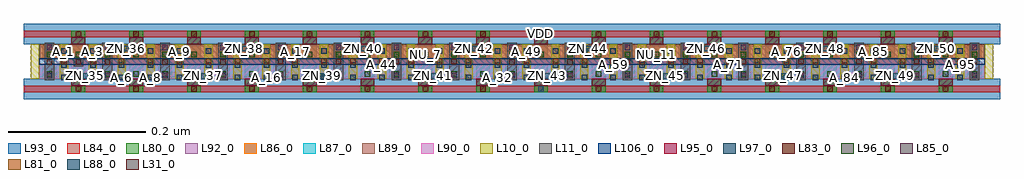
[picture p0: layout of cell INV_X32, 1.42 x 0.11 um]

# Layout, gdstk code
import gdstk
lib = gdstk.Library(unit=1e-6, precision=1e-09)
def R(c, l, rs):  # rectangles x0, y0, x1, y1
    for r in rs: c.add(gdstk.rectangle(r[:2], r[2:], *l))
def A(c, l, x, y, w, h, nx, ny, dx, dy):  # array of equal rectangles
    R(c, l, [(x+i*dx, y+j*dy, x+i*dx+w, y+j*dy+h) for i in range(nx) for j in range(ny)])
L10_0 = (10, 0)
L11_0 = (11, 0)
L31_0 = (31, 0)
L80_0 = (80, 0)
L81_0 = (81, 0)
L83_0 = (83, 0)
L84_0 = (84, 0)
L85_0 = (85, 0)
L86_0 = (86, 0)
L87_0 = (87, 0)
L88_0 = (88, 0)
L89_0 = (89, 0)
L90_0 = (90, 0)
L92_0 = (92, 0)
L93_0 = (93, 0)
L95_0 = (95, 0)
L96_0 = (96, 0)
L97_0 = (97, 0)
L106_0 = (106, 0)

inv_x32 = lib.new_cell('INV_X32')
A(inv_x32, L10_0, 0.235, 0.03, 0.012, 0.05, 17, 1, 0.042, 0)
A(inv_x32, L10_0, 0.949, 0.03, 0.012, 0.05, 17, 1, 0.042, 0)
R(inv_x32, L10_0, [(0.907,0.03,0.919,0.08), (0.949,0.03,0.961,0.08)])
A(inv_x32, L11_0, 0.255, 0.028, 0.014, 0.034, 9, 2, 0.084, 0.02)
A(inv_x32, L11_0, 0.927, 0.028, 0.014, 0.034, 9, 2, 0.084, 0.02)
R(inv_x32, L11_0, [(0.297,0.048,0.311,0.062)])
A(inv_x32, L31_0, 0.258, 0.05, 0.008, 0.008, 3, 1, 0.042, 0)
A(inv_x32, L31_0, 0.93, 0.05, 0.008, 0.008, 3, 1, 0.084, 0)
A(inv_x32, L31_0, 0.594, 0.051, 0.008, 0.008, 4, 1, 0.084, 0)
A(inv_x32, L31_0, 1.182, 0.051, 0.008, 0.008, 6, 1, 0.084, 0)
R(inv_x32, L31_0, [(0.426,0.05,0.434,0.058), (0.51,0.05,0.518,0.058)])
A(inv_x32, L80_0, 0.294, 0.01, 0.02, 0.021, 16, 1, 0.084, 0)
A(inv_x32, L80_0, 0.252, 0.03, 0.02, 0.02, 17, 1, 0.042, 0)
A(inv_x32, L80_0, 0.924, 0.03, 0.02, 0.02, 17, 1, 0.042, 0)
A(inv_x32, L80_0, 0.294, 0.071, 0.02, 0.029, 16, 1, 0.084, 0)
R(inv_x32, L80_0, [(0.252,0.06,0.272,0.08), (0.252,0.06,0.272,0.08), (0.294,0.06,0.314,0.08), (0.294,0.06,0.314,0.08), (0.336,0.06,0.356,0.08), (0.336,0.06,0.356,0.08), (0.378,0.06,0.398,0.08), (0.378,0.06,0.398,0.08), (0.42,0.06,0.44,0.08), (0.42,0.06,0.44,0.08), (0.462,0.06,0.482,0.08), (0.462,0.06,0.482,0.08), (0.504,0.06,0.524,0.08), (0.504,0.06,0.524,0.08), (0.546,0.06,0.566,0.08), (0.546,0.06,0.566,0.08), (0.588,0.06,0.608,0.08), (0.588,0.06,0.608,0.08), (0.63,0.06,0.65,0.08), (0.63,0.06,0.65,0.08), (0.672,0.06,0.692,0.08), (0.672,0.06,0.692,0.08), (0.714,0.06,0.734,0.08), (0.714,0.06,0.734,0.08), (0.756,0.06,0.776,0.08), (0.756,0.06,0.776,0.08), (0.798,0.06,0.818,0.08), (0.798,0.06,0.818,0.08), (0.84,0.06,0.86,0.08), (0.84,0.06,0.86,0.08), (0.882,0.06,0.902,0.08), (0.882,0.06,0.902,0.08), (0.924,0.06,0.944,0.08), (0.924,0.06,0.944,0.08), (0.924,0.06,0.944,0.08), (0.924,0.06,0.944,0.08), (0.966,0.06,0.986,0.08), (0.966,0.06,0.986,0.08), (1.008,0.06,1.028,0.08), (1.008,0.06,1.028,0.08), (1.05,0.06,1.07,0.08), (1.05,0.06,1.07,0.08), (1.092,0.06,1.112,0.08), (1.092,0.06,1.112,0.08), (1.134,0.06,1.154,0.08), (1.134,0.06,1.154,0.08), (1.176,0.06,1.196,0.08), (1.176,0.06,1.196,0.08), (1.218,0.06,1.238,0.08), (1.218,0.06,1.238,0.08), (1.26,0.06,1.28,0.08), (1.26,0.06,1.28,0.08), (1.302,0.06,1.322,0.08), (1.302,0.06,1.322,0.08), (1.344,0.06,1.364,0.08), (1.344,0.06,1.364,0.08), (1.386,0.06,1.406,0.08), (1.386,0.06,1.406,0.08), (1.428,0.06,1.448,0.08), (1.428,0.06,1.448,0.08), (1.47,0.06,1.49,0.08), (1.47,0.06,1.49,0.08), (1.512,0.06,1.532,0.08), (1.512,0.06,1.532,0.08), (1.554,0.06,1.574,0.08), (1.554,0.06,1.574,0.08), (1.596,0.06,1.616,0.08), (1.596,0.06,1.616,0.08)])
A(inv_x32, L81_0, 0.279, 0.051, 0.008, 0.008, 32, 1, 0.042, 0)
A(inv_x32, L83_0, 0.3, 0.011, 0.008, 0.008, 16, 2, 0.084, 0.08)
A(inv_x32, L83_0, 0.258, 0.031, 0.008, 0.008, 9, 2, 0.084, 0.04)
A(inv_x32, L83_0, 0.93, 0.031, 0.008, 0.008, 9, 2, 0.084, 0.04)
A(inv_x32, L84_0, 0.257, 0.03, 0.031, 0.01, 4, 1, 0.021, 0)
A(inv_x32, L84_0, 0.425, 0.03, 0.031, 0.01, 4, 1, 0.021, 0)
A(inv_x32, L84_0, 0.593, 0.03, 0.031, 0.01, 4, 1, 0.021, 0)
A(inv_x32, L84_0, 0.761, 0.03, 0.031, 0.01, 4, 1, 0.021, 0)
A(inv_x32, L84_0, 0.929, 0.03, 0.031, 0.01, 4, 1, 0.021, 0)
A(inv_x32, L84_0, 1.097, 0.03, 0.031, 0.01, 4, 1, 0.021, 0)
A(inv_x32, L84_0, 1.265, 0.03, 0.031, 0.01, 4, 1, 0.021, 0)
A(inv_x32, L84_0, 1.433, 0.03, 0.031, 0.01, 4, 1, 0.021, 0)
A(inv_x32, L84_0, 0.278, 0.05, 0.031, 0.01, 30, 1, 0.021, 0)
A(inv_x32, L84_0, 0.971, 0.05, 0.031, 0.01, 29, 1, 0.021, 0)
A(inv_x32, L84_0, 0.341, 0.07, 0.031, 0.01, 4, 1, 0.021, 0)
A(inv_x32, L84_0, 0.509, 0.07, 0.031, 0.01, 4, 1, 0.021, 0)
A(inv_x32, L84_0, 0.677, 0.07, 0.031, 0.01, 4, 1, 0.021, 0)
A(inv_x32, L84_0, 0.845, 0.07, 0.031, 0.01, 4, 1, 0.021, 0)
A(inv_x32, L84_0, 1.013, 0.07, 0.031, 0.01, 4, 1, 0.021, 0)
A(inv_x32, L84_0, 1.181, 0.07, 0.031, 0.01, 4, 1, 0.021, 0)
A(inv_x32, L84_0, 1.349, 0.07, 0.031, 0.01, 4, 1, 0.021, 0)
A(inv_x32, L84_0, 1.517, 0.07, 0.031, 0.01, 4, 1, 0.021, 0)
R(inv_x32, L84_0, [(0.225,0.01,0.971,0.02), (0.897,0.01,1.643,0.02), (0.929,0.03,0.939,0.04), (1.601,0.03,1.611,0.04), (0.916,0.05,0.981,0.06), (0.257,0.07,0.267,0.08), (0.929,0.07,0.939,0.08), (0.225,0.09,0.971,0.1), (0.897,0.09,1.643,0.1)])
A(inv_x32, L85_0, 0.258, 0.031, 0.008, 0.008, 17, 2, 0.084, 0.04)
R(inv_x32, L85_0, [(0.3,0.051,0.308,0.059)])
R(inv_x32, L86_0, [(0.247,0.058,0.949,0.08), (0.919,0.058,1.621,0.08)])
R(inv_x32, L87_0, [(0.247,0.03,0.949,0.052), (0.919,0.03,1.621,0.052)])
A(inv_x32, L88_0, 0.31, 0.03, 0.008, 0.008, 3, 1, 0.172, 0)
A(inv_x32, L88_0, 0.981, 0.03, 0.008, 0.008, 3, 1, 0.172, 0)
A(inv_x32, L88_0, 0.37, 0.07, 0.008, 0.008, 3, 1, 0.172, 0)
A(inv_x32, L88_0, 1.041, 0.07, 0.008, 0.008, 3, 1, 0.172, 0)
R(inv_x32, L88_0, [(0.972,0.011,0.98,0.019), (0.816,0.03,0.824,0.038), (1.487,0.03,1.495,0.038), (0.876,0.07,0.884,0.078), (1.547,0.07,1.555,0.078), (0.972,0.091,0.98,0.099)])
R(inv_x32, L89_0, [(0.247,0.058,0.949,0.08), (0.919,0.058,1.621,0.08)])
R(inv_x32, L90_0, [(0.247,0.03,0.949,0.052), (0.919,0.03,1.621,0.052)])
R(inv_x32, L92_0, [(0.248,0.032,0.948,0.05), (0.92,0.032,1.62,0.05), (0.248,0.06,0.948,0.078), (0.92,0.06,1.62,0.078)])
R(inv_x32, L93_0, [(0.225,0,0.971,0.03), (0.897,0,1.643,0.03), (0.225,0.08,0.971,0.11), (0.897,0.08,1.643,0.11)])
A(inv_x32, L95_0, 0.294, 0.02, 0.02, 0.01, 16, 2, 0.084, 0.06)
A(inv_x32, L96_0, 0.258, 0.033, 0.008, 0.008, 33, 2, 0.042, 0.028)
A(inv_x32, L97_0, 0.279, 0.028, 0.008, 0.008, 32, 2, 0.042, 0.018)
A(inv_x32, L97_0, 0.279, 0.066, 0.008, 0.008, 32, 1, 0.042, 0)
R(inv_x32, L106_0, [(0.247,0.05,0.949,0.06), (0.919,0.05,1.621,0.06)])
inv_x32.add(gdstk.Label('ZN_50', (1.551,0.074), layer=88, texttype=0))
inv_x32.add(gdstk.Label('ZN_49', (1.491,0.034), layer=88, texttype=0))
inv_x32.add(gdstk.Label('ZN_48', (1.389,0.074), layer=88, texttype=0))
inv_x32.add(gdstk.Label('ZN_47', (1.329,0.034), layer=88, texttype=0))
inv_x32.add(gdstk.Label('ZN_45', (1.157,0.034), layer=88, texttype=0))
inv_x32.add(gdstk.Label('ZN_46', (1.217,0.074), layer=88, texttype=0))
inv_x32.add(gdstk.Label('ZN_44', (1.045,0.074), layer=88, texttype=0))
inv_x32.add(gdstk.Label('ZN_43', (0.985,0.034), layer=88, texttype=0))
inv_x32.add(gdstk.Label('ZN_42', (0.88,0.074), layer=88, texttype=0))
inv_x32.add(gdstk.Label('ZN_41', (0.82,0.034), layer=88, texttype=0))
inv_x32.add(gdstk.Label('ZN_40', (0.718,0.074), layer=88, texttype=0))
inv_x32.add(gdstk.Label('ZN_39', (0.658,0.034), layer=88, texttype=0))
inv_x32.add(gdstk.Label('ZN_37', (0.486,0.034), layer=88, texttype=0))
inv_x32.add(gdstk.Label('ZN_38', (0.546,0.074), layer=88, texttype=0))
inv_x32.add(gdstk.Label('ZN_36', (0.374,0.074), layer=88, texttype=0))
inv_x32.add(gdstk.Label('ZN_35', (0.314,0.034), layer=88, texttype=0))
inv_x32.add(gdstk.Label('VSS', (0.976,0.015), layer=88, texttype=0))
inv_x32.add(gdstk.Label('VDD', (0.976,0.095), layer=88, texttype=0))
inv_x32.add(gdstk.Label('A_71', (1.249,0.05), layer=97, texttype=0))
inv_x32.add(gdstk.Label('A_72', (1.249,0.032), layer=97, texttype=0))
inv_x32.add(gdstk.Label('A_67', (1.207,0.07), layer=97, texttype=0))
inv_x32.add(gdstk.Label('A_51', (0.955,0.032), layer=97, texttype=0))
inv_x32.add(gdstk.Label('A_50', (0.955,0.05), layer=97, texttype=0))
inv_x32.add(gdstk.Label('A_49', (0.955,0.07), layer=97, texttype=0))
inv_x32.add(gdstk.Label('A_54', (0.997,0.032), layer=97, texttype=0))
inv_x32.add(gdstk.Label('A_53', (0.997,0.05), layer=97, texttype=0))
inv_x32.add(gdstk.Label('A_52', (0.997,0.07), layer=97, texttype=0))
inv_x32.add(gdstk.Label('A_58', (1.081,0.07), layer=97, texttype=0))
inv_x32.add(gdstk.Label('A_59', (1.081,0.05), layer=97, texttype=0))
inv_x32.add(gdstk.Label('A_60', (1.081,0.032), layer=97, texttype=0))
inv_x32.add(gdstk.Label('A_55', (1.039,0.07), layer=97, texttype=0))
inv_x32.add(gdstk.Label('A_56', (1.039,0.05), layer=97, texttype=0))
inv_x32.add(gdstk.Label('A_57', (1.039,0.032), layer=97, texttype=0))
inv_x32.add(gdstk.Label('A_69', (1.207,0.032), layer=97, texttype=0))
inv_x32.add(gdstk.Label('A_68', (1.207,0.05), layer=97, texttype=0))
inv_x32.add(gdstk.Label('A_18', (0.619,0.032), layer=97, texttype=0))
inv_x32.add(gdstk.Label('A_41', (0.619,0.05), layer=97, texttype=0))
inv_x32.add(gdstk.Label('A_17', (0.619,0.07), layer=97, texttype=0))
inv_x32.add(gdstk.Label('A_20', (0.661,0.032), layer=97, texttype=0))
inv_x32.add(gdstk.Label('A_42', (0.661,0.05), layer=97, texttype=0))
inv_x32.add(gdstk.Label('A_19', (0.661,0.07), layer=97, texttype=0))
inv_x32.add(gdstk.Label('A_23', (0.745,0.07), layer=97, texttype=0))
inv_x32.add(gdstk.Label('A_44', (0.745,0.05), layer=97, texttype=0))
inv_x32.add(gdstk.Label('A_24', (0.745,0.032), layer=97, texttype=0))
inv_x32.add(gdstk.Label('A_21', (0.703,0.07), layer=97, texttype=0))
inv_x32.add(gdstk.Label('A_43', (0.703,0.05), layer=97, texttype=0))
inv_x32.add(gdstk.Label('A_22', (0.703,0.032), layer=97, texttype=0))
inv_x32.add(gdstk.Label('A_30', (0.871,0.032), layer=97, texttype=0))
inv_x32.add(gdstk.Label('A_47', (0.871,0.05), layer=97, texttype=0))
inv_x32.add(gdstk.Label('A_29', (0.871,0.07), layer=97, texttype=0))
inv_x32.add(gdstk.Label('A_32', (0.913,0.032), layer=97, texttype=0))
inv_x32.add(gdstk.Label('A_48', (0.913,0.05), layer=97, texttype=0))
inv_x32.add(gdstk.Label('A_31', (0.913,0.07), layer=97, texttype=0))
inv_x32.add(gdstk.Label('A_27', (0.829,0.07), layer=97, texttype=0))
inv_x32.add(gdstk.Label('A_46', (0.829,0.05), layer=97, texttype=0))
inv_x32.add(gdstk.Label('A_28', (0.829,0.032), layer=97, texttype=0))
inv_x32.add(gdstk.Label('A_25', (0.787,0.07), layer=97, texttype=0))
inv_x32.add(gdstk.Label('A_45', (0.787,0.05), layer=97, texttype=0))
inv_x32.add(gdstk.Label('A_26', (0.787,0.032), layer=97, texttype=0))
inv_x32.add(gdstk.Label('A_7', (0.409,0.07), layer=97, texttype=0))
inv_x32.add(gdstk.Label('A_3', (0.325,0.07), layer=97, texttype=0))
inv_x32.add(gdstk.Label('A_34', (0.325,0.05), layer=97, texttype=0))
inv_x32.add(gdstk.Label('A_4', (0.325,0.032), layer=97, texttype=0))
inv_x32.add(gdstk.Label('A_87', (1.459,0.032), layer=97, texttype=0))
inv_x32.add(gdstk.Label('A_86', (1.459,0.05), layer=97, texttype=0))
inv_x32.add(gdstk.Label('A_85', (1.459,0.07), layer=97, texttype=0))
inv_x32.add(gdstk.Label('A_90', (1.501,0.032), layer=97, texttype=0))
inv_x32.add(gdstk.Label('A_89', (1.501,0.05), layer=97, texttype=0))
inv_x32.add(gdstk.Label('A_88', (1.501,0.07), layer=97, texttype=0))
inv_x32.add(gdstk.Label('A_94', (1.585,0.07), layer=97, texttype=0))
inv_x32.add(gdstk.Label('A_95', (1.585,0.05), layer=97, texttype=0))
inv_x32.add(gdstk.Label('A_96', (1.585,0.032), layer=97, texttype=0))
inv_x32.add(gdstk.Label('A_91', (1.543,0.07), layer=97, texttype=0))
inv_x32.add(gdstk.Label('A_92', (1.543,0.05), layer=97, texttype=0))
inv_x32.add(gdstk.Label('A_93', (1.543,0.032), layer=97, texttype=0))
inv_x32.add(gdstk.Label('A_81', (1.375,0.032), layer=97, texttype=0))
inv_x32.add(gdstk.Label('A_80', (1.375,0.05), layer=97, texttype=0))
inv_x32.add(gdstk.Label('A_79', (1.375,0.07), layer=97, texttype=0))
inv_x32.add(gdstk.Label('A_84', (1.417,0.032), layer=97, texttype=0))
inv_x32.add(gdstk.Label('A_83', (1.417,0.05), layer=97, texttype=0))
inv_x32.add(gdstk.Label('A_82', (1.417,0.07), layer=97, texttype=0))
inv_x32.add(gdstk.Label('A_76', (1.333,0.07), layer=97, texttype=0))
inv_x32.add(gdstk.Label('A_77', (1.333,0.05), layer=97, texttype=0))
inv_x32.add(gdstk.Label('A_78', (1.333,0.032), layer=97, texttype=0))
inv_x32.add(gdstk.Label('A_73', (1.291,0.07), layer=97, texttype=0))
inv_x32.add(gdstk.Label('A_74', (1.291,0.05), layer=97, texttype=0))
inv_x32.add(gdstk.Label('A_75', (1.291,0.032), layer=97, texttype=0))
inv_x32.add(gdstk.Label('A_1', (0.283,0.07), layer=97, texttype=0))
inv_x32.add(gdstk.Label('A_33', (0.283,0.05), layer=97, texttype=0))
inv_x32.add(gdstk.Label('A_2', (0.283,0.032), layer=97, texttype=0))
inv_x32.add(gdstk.Label('A_70', (1.249,0.07), layer=97, texttype=0))
inv_x32.add(gdstk.Label('A_64', (1.165,0.07), layer=97, texttype=0))
inv_x32.add(gdstk.Label('A_65', (1.165,0.05), layer=97, texttype=0))
inv_x32.add(gdstk.Label('A_66', (1.165,0.032), layer=97, texttype=0))
inv_x32.add(gdstk.Label('A_61', (1.123,0.07), layer=97, texttype=0))
inv_x32.add(gdstk.Label('A_62', (1.123,0.05), layer=97, texttype=0))
inv_x32.add(gdstk.Label('A_63', (1.123,0.032), layer=97, texttype=0))
inv_x32.add(gdstk.Label('A_39', (0.535,0.05), layer=97, texttype=0))
inv_x32.add(gdstk.Label('A_14', (0.535,0.032), layer=97, texttype=0))
inv_x32.add(gdstk.Label('A_6', (0.367,0.032), layer=97, texttype=0))
inv_x32.add(gdstk.Label('A_35', (0.367,0.05), layer=97, texttype=0))
inv_x32.add(gdstk.Label('A_5', (0.367,0.07), layer=97, texttype=0))
inv_x32.add(gdstk.Label('A_8', (0.409,0.032), layer=97, texttype=0))
inv_x32.add(gdstk.Label('A_36', (0.409,0.05), layer=97, texttype=0))
inv_x32.add(gdstk.Label('A_10', (0.451,0.032), layer=97, texttype=0))
inv_x32.add(gdstk.Label('A_37', (0.451,0.05), layer=97, texttype=0))
inv_x32.add(gdstk.Label('A_9', (0.451,0.07), layer=97, texttype=0))
inv_x32.add(gdstk.Label('A_12', (0.493,0.032), layer=97, texttype=0))
inv_x32.add(gdstk.Label('A_38', (0.493,0.05), layer=97, texttype=0))
inv_x32.add(gdstk.Label('A_11', (0.493,0.07), layer=97, texttype=0))
inv_x32.add(gdstk.Label('A_15', (0.577,0.07), layer=97, texttype=0))
inv_x32.add(gdstk.Label('A_40', (0.577,0.05), layer=97, texttype=0))
inv_x32.add(gdstk.Label('A_16', (0.577,0.032), layer=97, texttype=0))
inv_x32.add(gdstk.Label('A_13', (0.535,0.07), layer=97, texttype=0))
inv_x32.add(gdstk.Label('ZN', (1.522,0.055), layer=31, texttype=0))
inv_x32.add(gdstk.Label('ZN', (1.606,0.055), layer=31, texttype=0))
inv_x32.add(gdstk.Label('ZN', (1.27,0.055), layer=31, texttype=0))
inv_x32.add(gdstk.Label('ZN', (1.186,0.055), layer=31, texttype=0))
inv_x32.add(gdstk.Label('ZN', (1.354,0.055), layer=31, texttype=0))
inv_x32.add(gdstk.Label('ZN', (1.438,0.055), layer=31, texttype=0))
inv_x32.add(gdstk.Label('ZN', (0.934,0.054), layer=31, texttype=0))
inv_x32.add(gdstk.Label('ZN', (1.018,0.054), layer=31, texttype=0))
inv_x32.add(gdstk.Label('ZN', (1.102,0.054), layer=31, texttype=0))
inv_x32.add(gdstk.Label('ZN', (0.85,0.055), layer=31, texttype=0))
inv_x32.add(gdstk.Label('ZN', (0.766,0.055), layer=31, texttype=0))
inv_x32.add(gdstk.Label('ZN', (0.598,0.055), layer=31, texttype=0))
inv_x32.add(gdstk.Label('ZN', (0.682,0.055), layer=31, texttype=0))
inv_x32.add(gdstk.Label('ZN', (0.346,0.054), layer=31, texttype=0))
inv_x32.add(gdstk.Label('ZN', (0.262,0.054), layer=31, texttype=0))
inv_x32.add(gdstk.Label('ZN', (0.43,0.054), layer=31, texttype=0))
inv_x32.add(gdstk.Label('ZN', (0.514,0.054), layer=31, texttype=0))
inv_x32.add(gdstk.Label('A', (0.304,0.054), layer=31, texttype=0))
inv_x32.add(gdstk.Label('ND_6', (0.724,0.037), layer=96, texttype=0))
inv_x32.add(gdstk.Label('ZN_8', (0.85,0.065), layer=96, texttype=0))
inv_x32.add(gdstk.Label('NU_7', (0.808,0.065), layer=96, texttype=0))
inv_x32.add(gdstk.Label('ND_7', (0.808,0.037), layer=96, texttype=0))
inv_x32.add(gdstk.Label('ZN_18', (0.934,0.037), layer=96, texttype=0))
inv_x32.add(gdstk.Label('ZN_9', (0.934,0.065), layer=96, texttype=0))
inv_x32.add(gdstk.Label('ND_8', (0.892,0.037), layer=96, texttype=0))
inv_x32.add(gdstk.Label('NU_8', (0.892,0.065), layer=96, texttype=0))
inv_x32.add(gdstk.Label('ZN_17', (0.85,0.037), layer=96, texttype=0))
inv_x32.add(gdstk.Label('NU_9', (0.976,0.065), layer=96, texttype=0))
inv_x32.add(gdstk.Label('ZN_19', (1.018,0.065), layer=96, texttype=0))
inv_x32.add(gdstk.Label('ZN_27', (1.018,0.037), layer=96, texttype=0))
inv_x32.add(gdstk.Label('NU_10', (1.06,0.065), layer=96, texttype=0))
inv_x32.add(gdstk.Label('ND_10', (1.06,0.037), layer=96, texttype=0))
inv_x32.add(gdstk.Label('ND_11', (1.144,0.037), layer=96, texttype=0))
inv_x32.add(gdstk.Label('NU_11', (1.144,0.065), layer=96, texttype=0))
inv_x32.add(gdstk.Label('ZN_20', (1.102,0.065), layer=96, texttype=0))
inv_x32.add(gdstk.Label('ZN_28', (1.102,0.037), layer=96, texttype=0))
inv_x32.add(gdstk.Label('ND_9', (0.976,0.037), layer=96, texttype=0))
inv_x32.add(gdstk.Label('ZN_13', (0.514,0.037), layer=96, texttype=0))
inv_x32.add(gdstk.Label('ZN_4', (0.514,0.065), layer=96, texttype=0))
inv_x32.add(gdstk.Label('ND_3', (0.472,0.037), layer=96, texttype=0))
inv_x32.add(gdstk.Label('ND_12', (1.228,0.037), layer=96, texttype=0))
inv_x32.add(gdstk.Label('ZN_22', (1.27,0.065), layer=96, texttype=0))
inv_x32.add(gdstk.Label('ZN_30', (1.27,0.037), layer=96, texttype=0))
inv_x32.add(gdstk.Label('NU_13', (1.312,0.065), layer=96, texttype=0))
inv_x32.add(gdstk.Label('ND_13', (1.312,0.037), layer=96, texttype=0))
inv_x32.add(gdstk.Label('ZN_29', (1.186,0.037), layer=96, texttype=0))
inv_x32.add(gdstk.Label('ZN_21', (1.186,0.065), layer=96, texttype=0))
inv_x32.add(gdstk.Label('NU_12', (1.228,0.065), layer=96, texttype=0))
inv_x32.add(gdstk.Label('ZN_31', (1.354,0.037), layer=96, texttype=0))
inv_x32.add(gdstk.Label('ZN_23', (1.354,0.065), layer=96, texttype=0))
inv_x32.add(gdstk.Label('NU_14', (1.396,0.065), layer=96, texttype=0))
inv_x32.add(gdstk.Label('ND_14', (1.396,0.037), layer=96, texttype=0))
inv_x32.add(gdstk.Label('ZN_24', (1.438,0.065), layer=96, texttype=0))
inv_x32.add(gdstk.Label('ZN_32', (1.438,0.037), layer=96, texttype=0))
inv_x32.add(gdstk.Label('ZN_33', (1.522,0.037), layer=96, texttype=0))
inv_x32.add(gdstk.Label('ZN_25', (1.522,0.065), layer=96, texttype=0))
inv_x32.add(gdstk.Label('NU_15', (1.48,0.065), layer=96, texttype=0))
inv_x32.add(gdstk.Label('ND_15', (1.48,0.037), layer=96, texttype=0))
inv_x32.add(gdstk.Label('ZN_26', (1.606,0.065), layer=96, texttype=0))
inv_x32.add(gdstk.Label('NU_16', (1.564,0.065), layer=96, texttype=0))
inv_x32.add(gdstk.Label('ND_16', (1.564,0.037), layer=96, texttype=0))
inv_x32.add(gdstk.Label('ZN_34', (1.606,0.037), layer=96, texttype=0))
inv_x32.add(gdstk.Label('NU_6', (0.724,0.065), layer=96, texttype=0))
inv_x32.add(gdstk.Label('ZN_7', (0.766,0.065), layer=96, texttype=0))
inv_x32.add(gdstk.Label('ZN_16', (0.766,0.037), layer=96, texttype=0))
inv_x32.add(gdstk.Label('ZN_15', (0.682,0.037), layer=96, texttype=0))
inv_x32.add(gdstk.Label('ZN_6', (0.682,0.065), layer=96, texttype=0))
inv_x32.add(gdstk.Label('ND_5', (0.64,0.037), layer=96, texttype=0))
inv_x32.add(gdstk.Label('NU_5', (0.64,0.065), layer=96, texttype=0))
inv_x32.add(gdstk.Label('ZN_5', (0.598,0.065), layer=96, texttype=0))
inv_x32.add(gdstk.Label('ZN_14', (0.598,0.037), layer=96, texttype=0))
inv_x32.add(gdstk.Label('ZN_1', (0.262,0.065), layer=96, texttype=0))
inv_x32.add(gdstk.Label('ZN_10', (0.262,0.037), layer=96, texttype=0))
inv_x32.add(gdstk.Label('NU_1', (0.304,0.065), layer=96, texttype=0))
inv_x32.add(gdstk.Label('ND_1', (0.304,0.037), layer=96, texttype=0))
inv_x32.add(gdstk.Label('ND_2', (0.388,0.037), layer=96, texttype=0))
inv_x32.add(gdstk.Label('NU_2', (0.388,0.065), layer=96, texttype=0))
inv_x32.add(gdstk.Label('ZN_2', (0.346,0.065), layer=96, texttype=0))
inv_x32.add(gdstk.Label('ZN_11', (0.346,0.037), layer=96, texttype=0))
inv_x32.add(gdstk.Label('NU_3', (0.472,0.065), layer=96, texttype=0))
inv_x32.add(gdstk.Label('ZN_3', (0.43,0.065), layer=96, texttype=0))
inv_x32.add(gdstk.Label('ZN_12', (0.43,0.037), layer=96, texttype=0))
inv_x32.add(gdstk.Label('ND_4', (0.556,0.037), layer=96, texttype=0))
inv_x32.add(gdstk.Label('NU_4', (0.556,0.065), layer=96, texttype=0))

lib.write_gds('INV_X32.gds')
